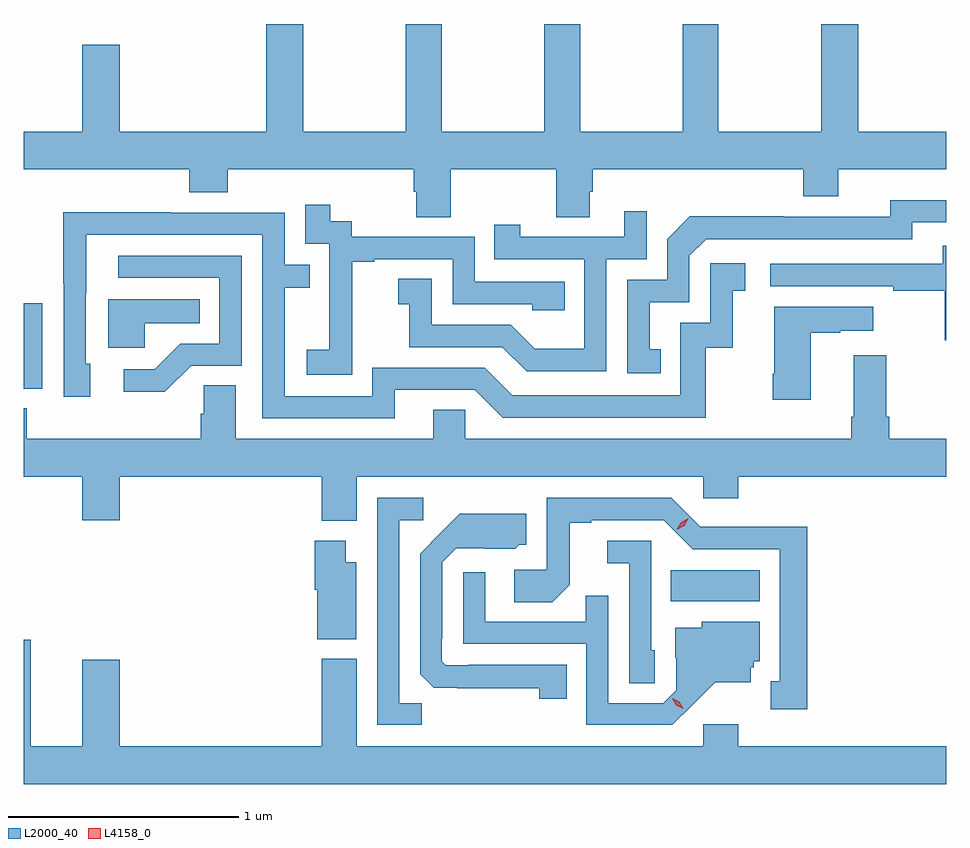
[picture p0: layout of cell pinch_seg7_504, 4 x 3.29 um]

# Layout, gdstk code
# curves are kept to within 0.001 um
import gdstk
lib = gdstk.Library(unit=1e-6, precision=1e-09)
def R(c, l, rs):  # rectangles x0, y0, x1, y1
    for r in rs: c.add(gdstk.rectangle(r[:2], r[2:], *l))
def P(c, l, *ps):  # polygons
    for p in ps: c.add(gdstk.Polygon(p, *l))
L2000_40 = (2000, 40)
L4158_0 = (4158, 0)

pinch_seg7_504 = lib.new_cell('pinch_seg7_504')
R(pinch_seg7_504, L2000_40, [(143.584,1072.004,143.968,1072.138), (140.778,1072.926,140.859,1073.296)])
P(pinch_seg7_504, L2000_40, [(142.629,1073.876),(143.086,1073.876),(143.086,1073.668),(143.233,1073.668),(143.233,1073.778),(143.246,1073.778),(143.246,1073.876),(144.158,1073.876),(144.158,1073.759),(144.31,1073.759),(144.31,1073.876),(144.778,1073.876),(144.778,1074.04),(144.395,1074.04),(144.395,1074.506),(144.235,1074.506),(144.235,1074.04),(143.79,1074.04),(143.79,1074.506),(143.635,1074.506),(143.635,1074.04),(143.19,1074.04),(143.19,1074.506),(143.035,1074.506),(143.035,1074.04),(142.59,1074.04),(142.59,1074.506),(142.435,1074.506),(142.435,1074.04),(141.99,1074.04),(141.99,1074.506),(141.83,1074.506),(141.83,1074.04),(141.196,1074.04),(141.196,1074.415),(141.032,1074.415),(141.032,1074.04),(140.778,1074.04),(140.778,1073.876),(141.497,1073.876),(141.497,1073.777),(141.662,1073.777),(141.662,1073.876),(142.469,1073.876),(142.469,1073.778),(142.481,1073.778),(142.481,1073.668),(142.629,1073.668)],
  [(143.54,1073.097),(143.491,1073.097),(143.491,1073.301),(143.664,1073.301),(143.664,1073.502),(143.736,1073.574),(144.63,1073.574),(144.63,1073.646),(144.778,1073.646),(144.778,1073.743),(144.534,1073.743),(144.534,1073.67),(144.074,1073.67),(144.074,1073.672),(143.666,1073.672),(143.568,1073.574),(143.568,1073.397),(143.394,1073.397),(143.394,1072.992),(143.54,1072.992)],
  [(142.203,1073.191),(142.202,1073.191),(142.202,1073.475),(142.297,1073.475),(142.297,1073.487),(142.638,1073.487),(142.638,1073.292),(142.983,1073.292),(142.983,1073.265),(143.123,1073.265),(143.123,1073.388),(142.734,1073.388),(142.734,1073.583),(142.2,1073.583),(142.2,1073.652),(142.108,1073.652),(142.108,1073.722),(141.999,1073.722),(141.999,1073.553),(142.104,1073.553),(142.104,1073.324),(142.103,1073.324),(142.103,1073.095),(142.005,1073.095),(142.005,1072.985),(142.203,1072.985)],
  [(143.304,1073.487),(143.478,1073.487),(143.478,1073.695),(143.381,1073.695),(143.381,1073.583),(142.93,1073.583),(142.93,1073.635),(142.819,1073.635),(142.819,1073.487),(143.208,1073.487),(143.208,1073.098),(142.994,1073.098),(142.89,1073.202),(142.548,1073.202),(142.548,1073.401),(142.401,1073.401),(142.401,1073.291),(142.45,1073.291),(142.45,1073.106),(142.853,1073.106),(142.958,1073.001),(143.304,1073.001)],
  [(142.387,1072.92),(142.734,1072.92),(142.854,1072.8),(143.734,1072.8),(143.734,1073.103),(143.852,1073.103),(143.852,1073.349),(143.905,1073.349),(143.905,1073.47),(143.754,1073.47),(143.754,1073.211),(143.625,1073.211),(143.625,1072.896),(142.896,1072.896),(142.776,1073.016),(142.29,1073.016),(142.29,1072.893),(141.909,1072.893),(141.909,1073.362),(142.019,1073.362),(142.019,1073.463),(141.909,1073.463),(141.909,1073.688),(141.413,1073.688),(141.413,1073.69),(140.95,1073.69),(140.95,1073.383),(140.952,1073.383),(140.952,1072.89),(141.067,1072.89),(141.067,1073.034),(141.048,1073.034),(141.049,1073.592),(141.813,1073.592),(141.813,1072.797),(142.387,1072.797)],
  [(144.778,1073.545),(144.763,1073.545),(144.763,1073.466),(144.015,1073.466),(144.015,1073.37),(144.547,1073.37),(144.547,1073.35),(144.771,1073.35),(144.771,1073.136),(144.778,1073.136)],
  [(141.504,1073.025),(141.723,1073.025),(141.723,1073.502),(141.189,1073.502),(141.189,1073.406),(141.627,1073.406),(141.627,1073.121),(141.458,1073.121),(141.347,1073.01),(141.213,1073.01),(141.213,1072.913),(141.391,1072.913)],
  [(141.303,1073.21),(141.542,1073.21),(141.542,1073.314),(141.146,1073.314),(141.146,1073.102),(141.303,1073.102)],
  [(144.19,1073.167),(144.317,1073.167),(144.317,1073.177),(144.46,1073.177),(144.46,1073.281),(144.032,1073.281),(144.032,1072.99),(144.025,1072.99),(144.025,1072.878),(144.19,1072.878)],
  [(142.222,1072.544),(143.724,1072.544),(143.724,1072.451),(143.876,1072.451),(143.876,1072.544),(144.778,1072.544),(144.778,1072.708),(144.53,1072.708),(144.53,1072.804),(144.517,1072.804),(144.517,1073.071),(144.377,1073.071),(144.377,1072.804),(144.365,1072.804),(144.365,1072.708),(142.692,1072.708),(142.692,1072.835),(142.553,1072.835),(142.553,1072.708),(141.697,1072.708),(141.697,1072.94),(141.558,1072.94),(141.558,1072.817),(141.545,1072.817),(141.545,1072.708),(140.792,1072.708),(140.792,1072.841),(140.778,1072.841),(140.778,1072.544),(141.032,1072.544),(141.032,1072.356),(141.196,1072.356),(141.196,1072.544),(142.07,1072.544),(142.07,1072.352),(142.222,1072.352)],
  [(142.503,1071.563),(142.407,1071.563),(142.407,1072.356),(142.51,1072.356),(142.51,1072.452),(142.311,1072.452),(142.311,1071.468),(142.503,1071.468)],
  [(144.175,1072.328),(143.934,1072.328),(143.934,1072.326),(143.712,1072.326),(143.586,1072.452),(143.046,1072.452),(143.046,1072.14),(142.905,1072.14),(142.905,1072),(143.069,1072),(143.145,1072.076),(143.145,1072.344),(143.239,1072.344),(143.239,1072.356),(143.553,1072.356),(143.679,1072.23),(144.056,1072.23),(144.056,1071.657),(144.017,1071.657),(144.017,1071.537),(144.175,1071.537)],
  [(143.132,1071.729),(142.708,1071.729),(142.708,1071.726),(142.608,1071.726),(142.59,1071.744),(142.59,1071.844),(142.593,1071.844),(142.593,1072.173),(142.653,1072.233),(142.91,1072.232),(142.926,1072.248),(142.957,1072.248),(142.957,1072.384),(142.669,1072.384),(142.497,1072.21),(142.497,1071.688),(142.556,1071.629),(143.014,1071.628),(143.014,1071.582),(143.132,1071.582)],
  [(142.219,1072.174),(142.174,1072.174),(142.174,1072.267),(142.04,1072.267),(142.04,1072.053),(142.052,1072.053),(142.052,1071.839),(142.219,1071.839)],
  [(143.514,1071.792),(143.499,1071.792),(143.499,1072.266),(143.307,1072.266),(143.307,1072.169),(143.403,1072.169),(143.403,1071.649),(143.514,1071.649)],
  [(143.674,1071.551),(143.777,1071.653),(143.929,1071.653),(143.929,1071.717),(143.943,1071.717),(143.943,1071.744),(143.968,1071.744),(143.968,1071.916),(143.718,1071.916),(143.718,1071.889),(143.603,1071.889),(143.603,1071.76),(143.607,1071.76),(143.607,1071.618),(143.55,1071.561),(143.313,1071.561),(143.313,1072.028),(143.215,1072.028),(143.215,1071.915),(142.779,1071.915),(142.779,1072.129),(142.683,1072.129),(142.683,1071.819),(143.217,1071.819),(143.217,1071.468),(143.59,1071.468)],
  [(144.778,1071.376),(143.876,1071.376),(143.876,1071.472),(143.724,1071.472),(143.724,1071.376),(142.222,1071.376),(142.222,1071.754),(142.07,1071.754),(142.07,1071.376),(141.196,1071.376),(141.196,1071.751),(141.032,1071.751),(141.032,1071.376),(140.809,1071.376),(140.809,1071.838),(140.778,1071.838),(140.778,1071.212),(144.778,1071.212)])
P(pinch_seg7_504, L4158_0, [(143.637,1071.539),(143.607,1071.554),(143.59,1071.583),(143.59,1071.584),(143.59,1071.584),(143.62,1071.569),(143.638,1071.539),(143.638,1071.539)],
  [(143.61,1072.313),(143.61,1072.313),(143.627,1072.345),(143.659,1072.364),(143.66,1072.364),(143.66,1072.364),(143.642,1072.331),(143.61,1072.313)])

lib.write_gds('pinch_seg7_504.gds')
